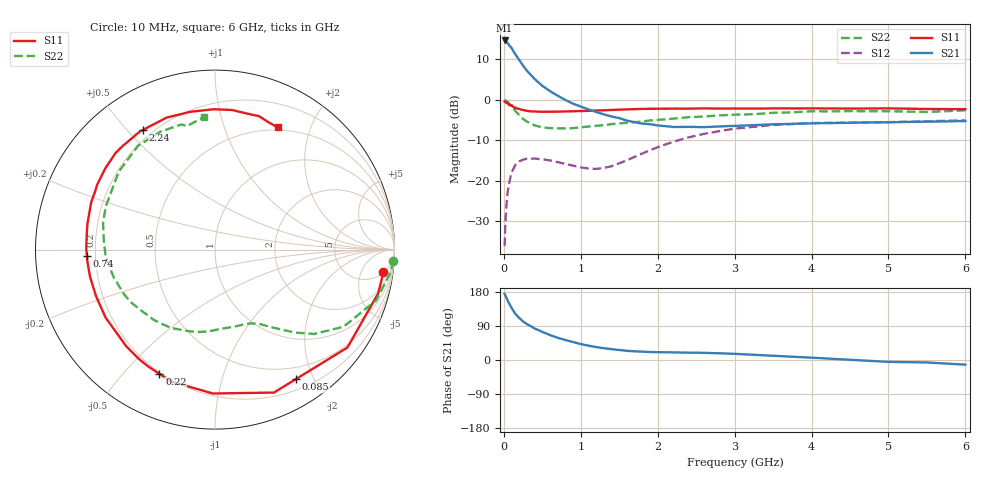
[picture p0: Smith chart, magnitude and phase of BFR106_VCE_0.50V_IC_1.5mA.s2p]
! Infineon Technologies  Discrete & RF Semiconductors
! BFR106
! VCE = 0.50 V,  IC =  1.5 mA
! Common Emitter S-Parameters:  Nov 2015
# GHz  S  MA  R  50
!  f  S11  S21  S12  S22
! GHz  MAG  ANG  MAG  ANG  MAG  ANG  MAG  ANG
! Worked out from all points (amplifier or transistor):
!   210 points, 10 MHz to 6 GHz, reference 50 ohm
!   highest |S21| = 14.7 dB at 10 MHz (marker M1)
!   |S21| within 3 dB of that: start of sweep to 135 MHz
!   unconditionally stable (mu >= 1): 769.1 MHz to end of sweep
!   at 185 MHz: K = 0.25, MSG = 12.9 dB, |S12| = -15.5 dB
!   at 1.52 GHz: K = 1.43, MAG = 1.6 dB, |S12| = -15.6 dB
!   at 6 GHz: K = 1.03, MAG = -1.1 dB, |S12| = -5.1 dB
!   S11 on the Smith chart (normalised r, x): 10 MHz: 5, -13; 85 MHz: 0.34, -1.76; 220 MHz: 0.19, -0.63; 740 MHz: 0.17, -0.02; 2.24 GHz: 0.16, +0.55; 6 GHz: 0.47, +1.53
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0.01  0.947 -7.6  5.425 174.4  0.0154 86.7  0.9962 -3.6
0.015  0.9423 -11.3  5.389 172.4  0.0228 84.5  0.9909 -5.4
0.025  0.9286 -18.5  5.284 168.1  0.037 78.6  0.9771 -8.9
0.05  0.9176 -36.5  5.041 155.9  0.0728 68.7  0.9421 -17.4
0.085  0.8508 -58.0  4.534 143.3  0.1092 55.6  0.8618 -26.6
0.1  0.8616 -67.6  4.394 137.1  0.1258 52.4  0.835 -31.0
0.15  0.8018 -90.9  3.649 121.4  0.1559 39.7  0.7253 -40.4
0.2  0.7743 -108.6  3.104 110.8  0.173 31.6  0.6443 -45.9
0.22  0.7584 -114.1  2.912 107.4  0.1762 29.0  0.6173 -47.6
0.26  0.7429 -124.6  2.572 100.1  0.1825 24.4  0.5698 -51.0
0.3  0.731 -132.7  2.288 94.6  0.1863 21.1  0.5379 -53.7
0.4  0.7176 -148.2  1.808 83.0  0.1873 14.8  0.4818 -59.2
0.5  0.7117 -158.6  1.487 73.9  0.1839 10.8  0.4559 -64.4
0.74  0.7145 -177.1  1.069 56.4  0.1658 8.3  0.4413 -78.7
1.02  0.7255 167.6  0.809 41.3  0.1445 14.9  0.4581 -95.5
1.4  0.7496 151.1  0.619 28.7  0.1503 36.2  0.4999 -119.1
2.02  0.7734 128.3  0.479 20.6  0.2627 48.5  0.5661 -155.3
2.24  0.7783 121.2  0.46 20.0  0.3096 46.1  0.5883 -166.9
3.1  0.7787 98.4  0.479 15.3  0.4476 28.9  0.6564 154.9
4.1  0.7819 81.9  0.512 5.1  0.5158 10.5  0.7186 124.1
5.1  0.7797 70.8  0.529 -5.3  0.5312 -2.3  0.7186 104.6
6  0.7653 62.9  0.545 -12.2  0.5565 -11.0  0.7421 94.6
